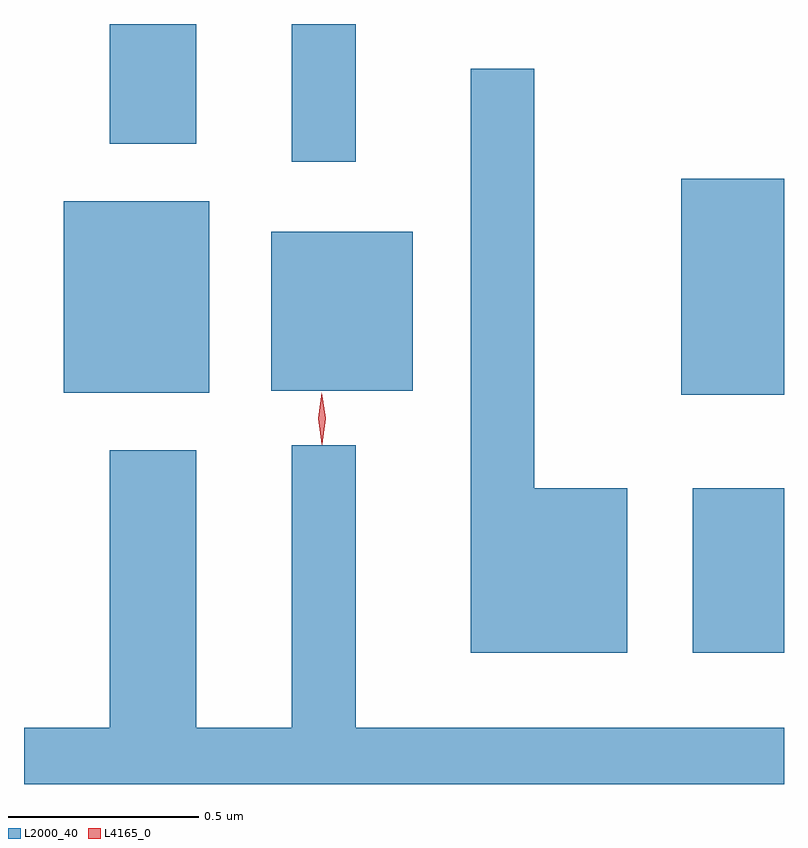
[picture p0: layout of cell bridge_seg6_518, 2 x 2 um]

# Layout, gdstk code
import gdstk
lib = gdstk.Library(unit=1e-6, precision=1e-09)
def R(c, l, rs):  # rectangles x0, y0, x1, y1
    for r in rs: c.add(gdstk.rectangle(r[:2], r[2:], *l))
def P(c, l, *ps):  # polygons
    for p in ps: c.add(gdstk.Polygon(p, *l))
L2000_40 = (2000, 40)
L4165_0 = (4165, 0)

bridge_seg6_518 = lib.new_cell('bridge_seg6_518')
R(bridge_seg6_518, L2000_40, [(968.616,1594.901,968.856,1595.334), (968.586,1595.581,968.856,1596.149), (966.961,1595.586,967.344,1596.089), (967.506,1595.591,967.879,1596.009), (967.561,1596.193,967.729,1596.556), (967.081,1596.241,967.309,1596.556)])
P(bridge_seg6_518, L2000_40, [(968.444,1595.334),(968.199,1595.334),(968.199,1596.438),(968.031,1596.438),(968.031,1594.901),(968.444,1594.901)],
  [(968.856,1594.704),(967.729,1594.704),(967.729,1595.448),(967.561,1595.448),(967.561,1594.704),(967.309,1594.704),(967.309,1595.434),(967.081,1595.434),(967.081,1594.704),(966.856,1594.704),(966.856,1594.556),(968.856,1594.556)])
P(bridge_seg6_518, L4165_0, [(967.641,1595.449),(967.64,1595.45),(967.63,1595.518),(967.639,1595.586),(967.64,1595.586),(967.64,1595.586),(967.65,1595.518),(967.641,1595.45)],
  [(967.64,1595.453),(967.63,1595.517),(967.639,1595.581),(967.64,1595.582),(967.64,1595.581),(967.65,1595.517),(967.641,1595.453),(967.641,1595.453)])

lib.write_gds('bridge_seg6_518.gds')
